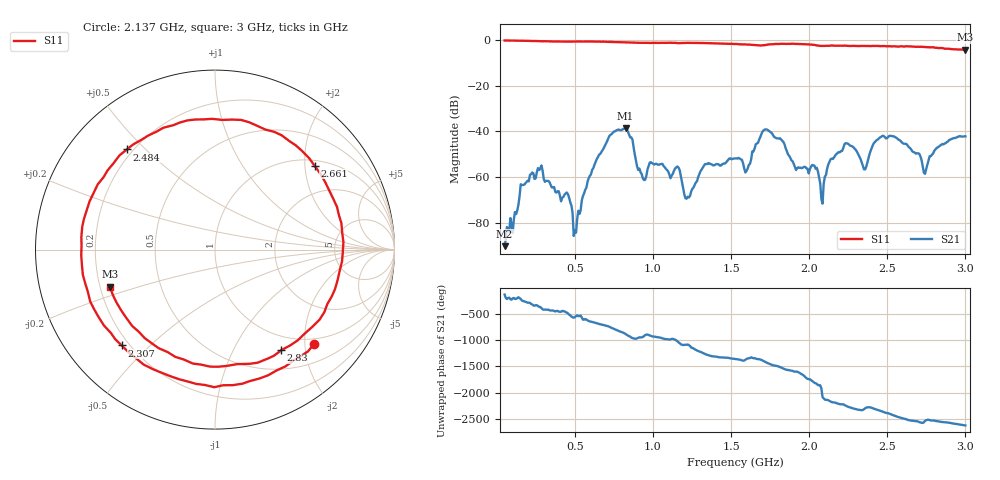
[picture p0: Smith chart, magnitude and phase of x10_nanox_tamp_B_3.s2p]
! nanovna_capture.py 2026-10-18T20:35:09+0900
! NanoVNA-F_V2 fw 0.6.0 SN 4A3639384505514B
! cal: load open short thru cal'ed  over 50000000-3000000000 Hz, 201 points
! points 401, avg 4
! S21: port1 = green ~10 mm H loop (flat, tape), port2 = GSM antenna; modified (implanted) Nano X at position B, placement 3
# HZ S RI R 50
! S12 and S22 are not measured (written as 0)
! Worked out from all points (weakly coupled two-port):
!   401 points, 50 MHz to 3 GHz, reference 50 ohm
!   highest |S21| = -38.61 dB at 824.4 MHz (marker M1); lowest = -90.3 dB at 50 MHz (marker M2)
!   lowest |S11| = -4.1 dB at 3 GHz (marker M3), VSWR 4.27, Z = 12 - j8.09 ohm
!   |S11| at or under -10 dB: nowhere
!   S12 and S22 are empty: the file has one direction only
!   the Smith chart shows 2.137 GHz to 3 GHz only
!   S11 on the Smith chart (normalised r, x): 2.137 GHz: 0.89, -2.21; 2.307 GHz: 0.17, -0.41; 2.484 GHz: 0.18, +0.44; 2.661 GHz: 1.14, +2.24; 2.83 GHz: 0.77, -1.57; 3 GHz: 0.24, -0.16
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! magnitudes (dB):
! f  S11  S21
! 50 MHz  -0.1  -90.3
! 271.2 MHz  -0.4  -56.9
! 499.9 MHz  -0.6  -83.2
! 544.1 MHz  -0.6  -70.3
! 721.1 MHz  -0.7  -41.9
! 824.4 MHz  -1.0  -38.6
! 935 MHz  -1.1  -60.5
! 1.038 GHz  -1.2  -54.6
! 1.223 GHz  -1.2  -68.6
! 1.525 GHz  -1.7  -51.8
! 1.606 GHz  -1.9  -56.2
! 1.724 GHz  -2.0  -39.1
! 2.019 GHz  -1.9  -54.7
! 2.086 GHz  -2.5  -71.6
! 2.137 GHz  -2.4  -52.2
! 2.307 GHz  -2.6  -49.0
! 2.484 GHz  -2.6  -42.4
! 2.513 GHz  -2.7  -41.9
! 2.661 GHz  -2.8  -48.8
! 2.742 GHz  -3.0  -58.6
! 2.83 GHz  -3.5  -46.7
! 3 GHz  -4.1  -42.1
